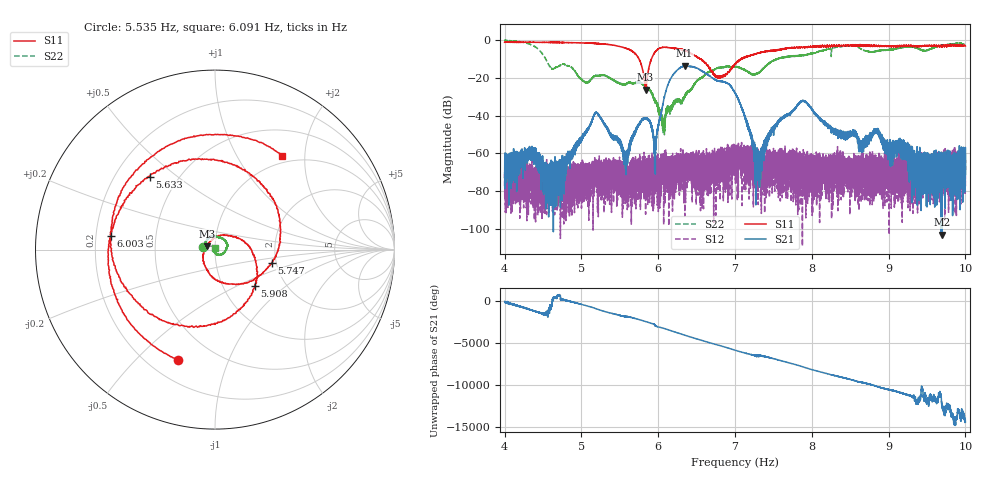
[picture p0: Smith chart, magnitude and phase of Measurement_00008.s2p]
!Created with skrf (http://scikit-rf.org).
# Hz S RI R 50.0
!freq ReS11 ImS11 ReS21 ImS21 ReS12 ImS12 ReS22 ImS22
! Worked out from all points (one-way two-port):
!   14001 points, 4 Hz to 10 Hz, reference 50 ohm
!   highest |S21| = -13.61 dB at 6.344 Hz (marker M1); lowest = -102.9 dB at 9.693 Hz (marker M2)
!   lowest |S11| = -26.3 dB at 5.835 Hz (marker M3), VSWR 1.10, Z = 45.7 + j1.74 ohm
!   |S11| at or under -10 dB: 5.75 Hz to 5.912 Hz (161.9 mHz wide, 2.78 % of centre); 6.546335 Hz to 6.55022 Hz (3.885 mHz wide, 0.0593 % of centre); 6.556 Hz to 7.079 Hz (523.1 mHz wide, 7.67 % of centre) (the widest 3 of 10)
!   |S22| runs from -50.1 to -0.2 dB; largest |S21 - S12| = 0.21
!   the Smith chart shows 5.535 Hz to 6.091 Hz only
!   S11 on the Smith chart (normalised r, x): 5.535 Hz: 0.32, -0.67; 5.633 Hz: 0.35, +0.40; 5.747 Hz: 1.89, -0.32; 5.908 Hz: 1.41, -0.63; 6.003 Hz: 0.26, +0.06; 6.091 Hz: 0.88, +1.57
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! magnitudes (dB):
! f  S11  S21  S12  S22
! 4 Hz  -1.1  -72.8  -77.2  -0.2
! 4.351 Hz  -1.1  -61.0  -73.5  -2.6
! 4.587 Hz  -1.2  -68.4  -70.1  -13.8
! 5 Hz  -1.5  -53.3  -74.4  -20.7
! 5.2 Hz  -1.8  -38.5  -71.6  -18.8
! 5.535 Hz  -3.8  -58.8  -67.0  -23.5
! 5.633 Hz  -5.3  -56.6  -80.4  -22.5
! 5.747 Hz  -9.8  -44.8  -69.2  -22.5
! 5.835 Hz  -26.3  -41.4  -68.0  -24.7
! 5.908 Hz  -10.4  -44.5  -65.6  -27.3
! 6 Hz  -4.7  -45.8  -64.7  -35.4
! 6.003 Hz  -4.7  -45.0  -69.1  -36.2
! 6.091 Hz  -3.8  -28.5  -73.4  -40.4
! 6.344 Hz  -5.4  -13.6  -64.3  -30.4
! 6.776 Hz  -20.1  -21.6  -65.6  -14.9
! 7 Hz  -12.7  -27.8  -67.9  -14.0
! 7.299 Hz  -6.9  -65.1  -66.7  -17.5
! 7.586 Hz  -5.1  -42.1  -60.4  -9.6
! 8 Hz  -3.7  -36.5  -64.3  -6.9
! 9 Hz  -3.3  -57.0  -71.7  -5.1
! 9.693 Hz  -3.4  -102.9  -64.9  -2.8
! 10 Hz  -3.2  -71.3  -68.6  -3.1
